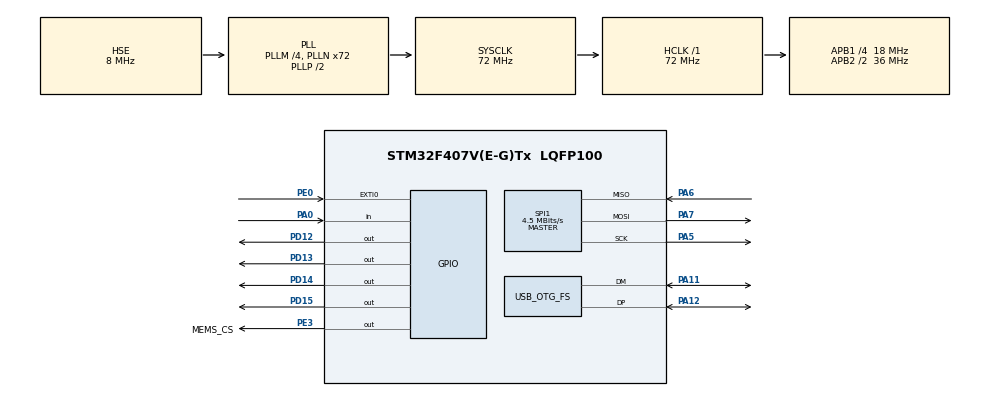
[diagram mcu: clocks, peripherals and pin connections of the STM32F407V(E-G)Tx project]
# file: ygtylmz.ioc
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EdgeImpulse.b_t.1.0.2.MachineLearningCcbIitJjCore=true
Mcu.Family=STM32F4
Mcu.Name=STM32F407V(E-G)Tx
Mcu.Package=LQFP100
NVIC.EXTI0_IRQn=true\:0\:0\:false\:false\:true\:true\:true\:true
NVIC.OTG_FS_IRQn=true\:0\:0\:false\:false\:true\:false\:true\:true
NVIC.PriorityGroup=NVIC_PRIORITYGROUP_0
NVIC.TIM7_IRQn=true\:0\:0\:false\:false\:true\:true\:true\:true
PA0-WKUP.Signal=GPIO_Input
PA11.Mode=Device_Only
PA11.Signal=USB_OTG_FS_DM
PA12.Mode=Device_Only
PA12.Signal=USB_OTG_FS_DP
PA5.Mode=Full_Duplex_Master
PA5.Signal=SPI1_SCK
PA6.Mode=Full_Duplex_Master
PA6.Signal=SPI1_MISO
PA7.Mode=Full_Duplex_Master
PA7.Signal=SPI1_MOSI
PD12.Signal=GPIO_Output
PD13.Signal=GPIO_Output
PD14.Signal=GPIO_Output
PD15.Signal=GPIO_Output
PE0.Signal=GPXTI0
PE3.GPIO_Label=MEMS_CS
PE3.Signal=GPIO_Output
PH0-OSC_IN.Mode=HSE-External-Oscillator
PH0-OSC_IN.Signal=RCC_OSC_IN
PH1-OSC_OUT.Mode=HSE-External-Oscillator
PH1-OSC_OUT.Signal=RCC_OSC_OUT
ProjectManager.HeapSize=0x200
ProjectManager.StackSize=0x400
ProjectManager.TargetToolchain=STM32CubeIDE
RCC.48MHZClocksFreq_Value=48000000
RCC.AHBFreq_Value=72000000
RCC.APB1CLKDivider=RCC_HCLK_DIV4
RCC.APB1Freq_Value=18000000
RCC.APB1TimFreq_Value=36000000
RCC.APB2CLKDivider=RCC_HCLK_DIV2
RCC.APB2Freq_Value=36000000
RCC.APB2TimFreq_Value=72000000
RCC.CortexFreq_Value=72000000
RCC.HCLKFreq_Value=72000000
RCC.HSE_VALUE=8000000
RCC.HSI_VALUE=16000000
RCC.LSE_VALUE=32768
RCC.PLLM=4
RCC.PLLN=72
RCC.PLLQ=3
RCC.SYSCLKFreq_VALUE=72000000
RCC.SYSCLKSource=RCC_SYSCLKSOURCE_PLLCLK
RCC.VCOOutputFreq_Value=144000000
SPI1.BaudRatePrescaler=SPI_BAUDRATEPRESCALER_8
SPI1.CalculateBaudRate=4.5 MBits/s
SPI1.DataSize=SPI_DATASIZE_8BIT
SPI1.Direction=SPI_DIRECTION_2LINES
SPI1.Mode=SPI_MODE_MASTER
SPI1.VirtualType=VM_MASTER
TIM7.Period=5000
TIM7.Prescaler=20000
USB_DEVICE.CLASS_NAME_FS=CDC
USB_DEVICE.VirtualMode-CDC_FS=Cdc
USB_DEVICE.VirtualModeFS=Cdc_FS
USB_OTG_FS.VirtualMode=Device_Only
VP_CRC_VS_CRC.Mode=CRC_Activate
VP_EdgeImpulse.b_t_VS_bIitJjMachineLearning_1.0.2_1.0.2.Mode=bIitJjMachineLearning
VP_TIM7_VS_ClockSourceINT.Mode=Enable_Timer
VP_USB_DEVICE_VS_USB_DEVICE_CDC_FS.Mode=CDC_FS
board=STM32F407G-DISC1

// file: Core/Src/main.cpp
/* USER CODE BEGIN Header */
/**
  ******************************************************************************
  * @file           : main.c
  * @brief          : Main program body
  ******************************************************************************
  * @attention
  *
  * Copyright (c) 2022 STMicroelectronics.
  * All rights reserved.
  *
  * This software is licensed under terms that can be found in the LICENSE file
  * in the root directory of this software component.
  * If no LICENSE file comes with this software, it is provided AS-IS.
  *
  ******************************************************************************
  */
/* USER CODE END Header */
#include "main.h"
#include "usb_device.h"

/* USER CODE BEGIN Includes */
#include "MY_LIS3DSH.h"
#include "usbd_cdc_if.h"
#include "string.h"
#include <stdio.h>
#include <stdarg.h>
#include "edge-impulse-sdk/classifier/ei_run_classifier.h"
/* USER CODE END Includes */

CRC_HandleTypeDef hcrc;

SPI_HandleTypeDef hspi1;

TIM_HandleTypeDef htim7;

/* USER CODE BEGIN PV */
/* Private variables ---------------------------------------------------------*/
void vprint(const char *fmt, va_list argp)
{
    char string[200];
    if(0 < vsprintf(string, fmt, argp)) // build string
    {
        //HAL_UART_Transmit(&huart1, (uint8_t*)string, strlen(string), 0xffffff); // send message via UART
    	 CDC_Transmit_FS((uint8_t*)string, strlen(string));
    }
}

void ei_printf(const char *format, ...) {
    va_list myargs;
    va_start(myargs, format);
    vprint(format, myargs);
    va_end(myargs);
}
using namespace ei;

static float features[EI_CLASSIFIER_DSP_INPUT_FRAME_SIZE] = { 0.0 };

int get_feature_data(size_t offset, size_t length, float *out_ptr) {
    memcpy(out_ptr, features + offset, length * sizeof(float));
    return 0;
}
/* USER CODE END PV */

void SystemClock_Config(void);
static void MX_GPIO_Init(void);
static void MX_SPI1_Init(void);
static void MX_TIM7_Init(void);
static void MX_CRC_Init(void);
/* USER CODE BEGIN PFP */
/* Private function prototypes -----------------------------------------------*/

/* USER CODE END PFP */

/* USER CODE BEGIN 0 */

LIS3DSH_DataScaled myData;
char A[50];
int i=0;
uint8_t drdyFlag=0;
char charbuff[50];
int pressed=0;

using namespace std;
bool featuresarrayisready=false;
int countt=0;

/* USER CODE END 0 */

int main(void)
{
  /* USER CODE BEGIN 1 */
	LIS3DSH_InitTypeDef myAccConfigDef;
  /* USER CODE END 1 */

  /* MCU Configuration--------------------------------------------------------*/

  /* Reset of all peripherals, Initializes the Flash interface and the Systick. */
  HAL_Init();

  /* Configure the system clock */
  SystemClock_Config();

  /* Initialize all configured peripherals */
  MX_GPIO_Init();
  MX_SPI1_Init();
  MX_USB_DEVICE_Init();
  MX_TIM7_Init();
  MX_CRC_Init();
  /* USER CODE BEGIN 2 */
	myAccConfigDef.dataRate = LIS3DSH_DATARATE_800;
	myAccConfigDef.fullScale = LIS3DSH_FULLSCALE_4;
	myAccConfigDef.enableAxes = LIS3DSH_XYZ_ENABLE;
	myAccConfigDef.interruptEnable = true;
	//myAccConfigDef.antiAliasingBW = LIS3DSH_FILTER_BW_50;
	LIS3DSH_Init(&hspi1, &myAccConfigDef);

	LIS3DSH_X_calibrate(-1000.0, 980.0);
	LIS3DSH_Y_calibrate(-1020.0, 1040.0);
	LIS3DSH_Z_calibrate(-920.0, 1040.0);
	signal_t signal;
	  	signal.total_length = sizeof(features) / sizeof(features[0]);
	  	signal.get_data = &get_feature_data;
  /* USER CODE END 2 */

  /* Infinite loop */
  while (1)
  {

    /* USER CODE BEGIN 3 */
	  for(;featuresarrayisready==false;)
		{
		  	if(drdyFlag==1){
		  		drdyFlag=0;
		  		myData = LIS3DSH_GetDataScaled();
		  		  	features[3*countt]=myData.x;
		  		  	features[3*countt+1]=myData.y;
		  		  	features[3*countt+2]=myData.z;
		  		  	countt++;
			//CDC_Transmit_FS((uint8_t*)features, strlen(features));
			//HAL_Delay(5000);
			  if(countt==EI_CLASSIFIER_RAW_SAMPLE_COUNT){
						countt=0;
						featuresarrayisready=true;
					}
			HAL_GPIO_TogglePin(GPIOD, GPIO_PIN_12);

		  	}

		}
	  ei_impulse_result_t result = { 0 };
	  	      EI_IMPULSE_ERROR res = run_classifier(&signal, &result, true);
	  	      ei_printf("run_classifier returned: %d\n", res);

	  	      ei_printf("Predictions (DSP: %d ms., Classification: %d ms., Anomaly: %d ms.): \n",
	  	          result.timing.dsp, result.timing.classification, result.timing.anomaly);

	  	      // print the predictions
	  	      ei_printf("[");
	  	      for (size_t ix = 0; ix < EI_CLASSIFIER_LABEL_COUNT; ix++) {
	  	    	  ei_printf_float(result.classification[ix].value);
	  	  #if EI_CLASSIFIER_HAS_ANOMALY == 1
	  	          ei_printf(", ");
	  	  #else
	  	          if (ix != EI_CLASSIFIER_LABEL_COUNT - 1) {
	  	              ei_printf(", ");
	  	          }
	  	  #endif
	  	      }
	  	  #if EI_CLASSIFIER_HAS_ANOMALY == 1
	  	      ei_printf_float(result.anomaly);
	  	  #endif
	  	      ei_printf("]\n\n\n");

	  //memset(features, 0.0, EI_CLASSIFIER_DSP_INPUT_FRAME_SIZE);
	  HAL_Delay(1500);
	  featuresarrayisready=false;

  }
  /* USER CODE END 3 */
}

void SystemClock_Config(void)
{
  RCC_OscInitTypeDef RCC_OscInitStruct = {0};
  RCC_ClkInitTypeDef RCC_ClkInitStruct = {0};

  /** Configure the main internal regulator output voltage
  */
  __HAL_RCC_PWR_CLK_ENABLE();
  __HAL_PWR_VOLTAGESCALING_CONFIG(PWR_REGULATOR_VOLTAGE_SCALE1);

  /** Initializes the RCC Oscillators according to the specified parameters
  * in the RCC_OscInitTypeDef structure.
  */
  RCC_OscInitStruct.OscillatorType = RCC_OSCILLATORTYPE_HSE;
  RCC_OscInitStruct.HSEState = RCC_HSE_ON;
  RCC_OscInitStruct.PLL.PLLState = RCC_PLL_ON;
  RCC_OscInitStruct.PLL.PLLSource = RCC_PLLSOURCE_HSE;
  RCC_OscInitStruct.PLL.PLLM = 4;
  RCC_OscInitStruct.PLL.PLLN = 72;
  RCC_OscInitStruct.PLL.PLLP = RCC_PLLP_DIV2;
  RCC_OscInitStruct.PLL.PLLQ = 3;
  if (HAL_RCC_OscConfig(&RCC_OscInitStruct) != HAL_OK)
  {
    Error_Handler();
  }

  /** Initializes the CPU, AHB and APB buses clocks
  */
  RCC_ClkInitStruct.ClockType = RCC_CLOCKTYPE_HCLK|RCC_CLOCKTYPE_SYSCLK
                              |RCC_CLOCKTYPE_PCLK1|RCC_CLOCKTYPE_PCLK2;
  RCC_ClkInitStruct.SYSCLKSource = RCC_SYSCLKSOURCE_PLLCLK;
  RCC_ClkInitStruct.AHBCLKDivider = RCC_SYSCLK_DIV1;
  RCC_ClkInitStruct.APB1CLKDivider = RCC_HCLK_DIV4;
  RCC_ClkInitStruct.APB2CLKDivider = RCC_HCLK_DIV2;

  if (HAL_RCC_ClockConfig(&RCC_ClkInitStruct, FLASH_LATENCY_2) != HAL_OK)
  {
    Error_Handler();
  }
}

static void MX_CRC_Init(void)
{

  hcrc.Instance = CRC;
  if (HAL_CRC_Init(&hcrc) != HAL_OK)
  {
    Error_Handler();
  }

}

static void MX_SPI1_Init(void)
{

  /* SPI1 parameter configuration*/
  hspi1.Instance = SPI1;
  hspi1.Init.Mode = SPI_MODE_MASTER;
  hspi1.Init.Direction = SPI_DIRECTION_2LINES;
  hspi1.Init.DataSize = SPI_DATASIZE_8BIT;
  hspi1.Init.CLKPolarity = SPI_POLARITY_LOW;
  hspi1.Init.CLKPhase = SPI_PHASE_1EDGE;
  hspi1.Init.NSS = SPI_NSS_SOFT;
  hspi1.Init.BaudRatePrescaler = SPI_BAUDRATEPRESCALER_8;
  hspi1.Init.FirstBit = SPI_FIRSTBIT_MSB;
  hspi1.Init.TIMode = SPI_TIMODE_DISABLE;
  hspi1.Init.CRCCalculation = SPI_CRCCALCULATION_DISABLE;
  hspi1.Init.CRCPolynomial = 10;
  if (HAL_SPI_Init(&hspi1) != HAL_OK)
  {
    Error_Handler();
  }

}

static void MX_TIM7_Init(void)
{

  TIM_MasterConfigTypeDef sMasterConfig = {0};

  htim7.Instance = TIM7;
  htim7.Init.Prescaler = 20000;
  htim7.Init.CounterMode = TIM_COUNTERMODE_UP;
  htim7.Init.Period = 5000;
  htim7.Init.AutoReloadPreload = TIM_AUTORELOAD_PRELOAD_DISABLE;
  if (HAL_TIM_Base_Init(&htim7) != HAL_OK)
  {
    Error_Handler();
  }
  sMasterConfig.MasterOutputTrigger = TIM_TRGO_RESET;
  sMasterConfig.MasterSlaveMode = TIM_MASTERSLAVEMODE_DISABLE;
  if (HAL_TIMEx_MasterConfigSynchronization(&htim7, &sMasterConfig) != HAL_OK)
  {
    Error_Handler();
  }

}

static void MX_GPIO_Init(void)
{
  GPIO_InitTypeDef GPIO_InitStruct = {0};

  /* GPIO Ports Clock Enable */
  __HAL_RCC_GPIOE_CLK_ENABLE();
  __HAL_RCC_GPIOH_CLK_ENABLE();
  __HAL_RCC_GPIOA_CLK_ENABLE();
  __HAL_RCC_GPIOD_CLK_ENABLE();

  /*Configure GPIO pin Output Level */
  HAL_GPIO_WritePin(MEMS_CS_GPIO_Port, MEMS_CS_Pin, GPIO_PIN_RESET);

  /*Configure GPIO pin Output Level */
  HAL_GPIO_WritePin(GPIOD, GPIO_PIN_12|GPIO_PIN_13|GPIO_PIN_14|GPIO_PIN_15, GPIO_PIN_RESET);

  /*Configure GPIO pin : MEMS_CS_Pin */
  GPIO_InitStruct.Pin = MEMS_CS_Pin;
  GPIO_InitStruct.Mode = GPIO_MODE_OUTPUT_PP;
  GPIO_InitStruct.Pull = GPIO_NOPULL;
  GPIO_InitStruct.Speed = GPIO_SPEED_FREQ_LOW;
  HAL_GPIO_Init(MEMS_CS_GPIO_Port, &GPIO_InitStruct);

  /*Configure GPIO pin : PA0 */
  GPIO_InitStruct.Pin = GPIO_PIN_0;
  GPIO_InitStruct.Mode = GPIO_MODE_INPUT;
  GPIO_InitStruct.Pull = GPIO_NOPULL;
  HAL_GPIO_Init(GPIOA, &GPIO_InitStruct);

  /*Configure GPIO pins : PD12 PD13 PD14 PD15 */
  GPIO_InitStruct.Pin = GPIO_PIN_12|GPIO_PIN_13|GPIO_PIN_14|GPIO_PIN_15;
  GPIO_InitStruct.Mode = GPIO_MODE_OUTPUT_PP;
  GPIO_InitStruct.Pull = GPIO_NOPULL;
  GPIO_InitStruct.Speed = GPIO_SPEED_FREQ_LOW;
  HAL_GPIO_Init(GPIOD, &GPIO_InitStruct);

  /*Configure GPIO pin : PE0 */
  GPIO_InitStruct.Pin = GPIO_PIN_0;
  GPIO_InitStruct.Mode = GPIO_MODE_IT_RISING;
  GPIO_InitStruct.Pull = GPIO_NOPULL;
  HAL_GPIO_Init(GPIOE, &GPIO_InitStruct);

  /* EXTI interrupt init*/
  HAL_NVIC_SetPriority(EXTI0_IRQn, 0, 0);
  HAL_NVIC_EnableIRQ(EXTI0_IRQn);

}

/* USER CODE BEGIN 4 */
void HAL_GPIO_EXTI_Callback(uint16_t GPIO_Pin)
{
  /* Prevent unused argument(s) compilation warning */
  UNUSED(GPIO_Pin);
  /* NOTE: This function Should not be modified, when the callback is needed,
           the HAL_GPIO_EXTI_Callback could be implemented in the user file
   */
 /* if(GPIO_Pin==GPIO_PIN_0){
  	  if(HAL_GPIO_ReadPin( GPIOA,GPIO_PIN_0)){*/
  drdyFlag = 1;
/*
  if(!featuresarrayisready){
  	myData = LIS3DSH_GetDataScaled();
  	features[3*countt]=myData.x;
  	features[3*countt+1]=myData.y;
  	features[3*countt+2]=myData.z;
	HAL_GPIO_TogglePin(GPIOD, GPIO_PIN_13);
	countt++;
	if(countt==EI_CLASSIFIER_RAW_SAMPLE_COUNT){
  		countt=0;
  		featuresarrayisready=true;
  	}
}*/
  	  /*}
  	   *
  	  else{
  		  if(pressed==1){
  		  i=0;
  		  pressed=0;
  		CDC_Transmit_FS("\n", strlen("\n"));
  		  }
  	  }
  }*/

}
/* USER CODE END 4 */

void Error_Handler(void)
{
  while(1)
  {
  }
}
